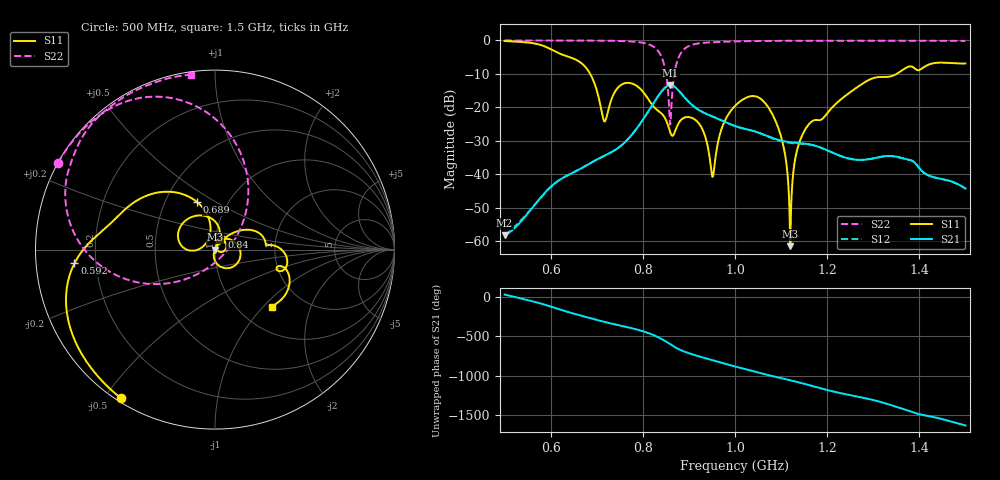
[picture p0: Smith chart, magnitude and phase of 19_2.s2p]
! TOUCHSTONE file generated by CST MICROWAVE STUDIO
! Date and time: Wed Oct 28 19:37:06 2020
! Project name: Scenario_1_Circular_Tissue_out_of_Line_v2.cst
! Parameters = {dy1=-34.6; L_HA=400; MT=2.54; Rad_Dielectric=30; Rad_Lower=7.3; Rad_Upper=30; a_HA=580; a_WG=246; b_HA=500; b_WG=121; c_HA=0; c_WG=187; d_feed=85; dx1=346; h_feed=15; h_lower=18; h_upper=40}
! Header version: 2018
! Port assignment regex: !\s*Touchstone port\s*([0-9]+)\s*=\s*(CST MWS port|CST DS port)\s*([0-9]+|Zmin|Zmax)\s*\(\"(.*)\"\)(\s*mode\s*([0-9]+))?.*
! Touchstone port assignment:
! Touchstone port 1 = CST MWS port 1 ("")
! Touchstone port 2 = CST MWS port 2 ("")
# GHz S DB R 50
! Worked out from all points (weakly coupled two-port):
!   1003 points, 500 MHz to 1.5 GHz, reference 50 ohm
!   highest |S21| = -13.35 dB at 860 MHz (marker M1); lowest = -58.3 dB at 500 MHz (marker M2)
!   lowest |S11| = -61.6 dB at 1.12 GHz (marker M3), VSWR 1.00, Z = 49.9 + j0.05 ohm
!   |S11| at or under -10 dB: 685.6 MHz to 1.351 GHz (665.3 MHz wide, 65.3 % of centre)
!   |S22| runs from -25.2 to 0.0 dB; largest |S21 - S12| = 0.00098
!   S11 on the Smith chart (normalised r, x): 500 MHz: 0.01, -0.55; 592 MHz: 0.12, -0.05; 689 MHz: 0.72, +0.42; 840 MHz: 1.06, +0.16; 1.5 GHz: 1.39, -1.13
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0.5  -0.18 -122.3  -58.34 32.4  -58.29 33.3  -0.01 151.1
0.592  -2.08 -174.4  -44.87 -105.1  -45.03 -105.2  -0.02 144.7
0.667  -6.84 135.9  -38.22 122.8  -38.23 122.7  -0.04 138.4
0.689  -10.90 110.8  -36.49 87.9  -36.49 87.9  -0.06 136.1
0.717  -24.28 144.2  -34.48 44.2  -34.49 44.2  -0.09 132.7
0.764  -12.72 146.8  -30.07 -18.8  -30.07 -18.7  -0.23 124.5
0.834  -21.14 69.5  -16.51 -152.2  -16.51 -152.2  -3.31 85.8
0.84  -21.80 64.2  -15.37 -170.3  -15.38 -170.3  -4.76 76.9
0.86  -27.68 53.3  -13.35 119.3  -13.35 119.3  -24.89 -67.7
0.87  -27.19 78.0  -13.96 83.5  -13.96 83.5  -8.81 -148.0
0.884  -23.64 64.9  -16.01 42.0  -15.99 42.0  -3.50 -174.3
0.925  -25.51 -6.4  -21.10 -38.4  -21.08 -38.2  -0.81 155.8
0.952  -40.75 30.8  -22.82 -83.8  -22.80 -83.7  -0.54 148.1
0.972  -26.01 66.2  -24.00 -117.4  -24.00 -117.4  -0.41 144.4
1  -19.60 31.4  -25.62 -161.3  -25.62 -161.3  -0.29 140.3
1.077  -21.08 -78.1  -28.98 81.9  -29.11 81.3  -0.14 131.8
1.104  -30.95 -104.6  -30.09 45.0  -30.33 44.1  -0.12 129.3
1.12  -61.57 143.1  -30.47 23.0  -30.70 22.5  -0.12 128.0
1.136  -32.17 60.0  -30.69 -0.1  -30.87 -0.1  -0.11 126.7
1.167  -24.22 41.4  -31.26 -49.0  -31.29 -48.8  -0.10 124.2
1.334  -10.85 4.7  -34.56 75.5  -34.55 75.6  -0.09 111.5
1.5  -6.89 -45.5  -44.29 168.7  -44.35 168.7  -0.14 97.9
